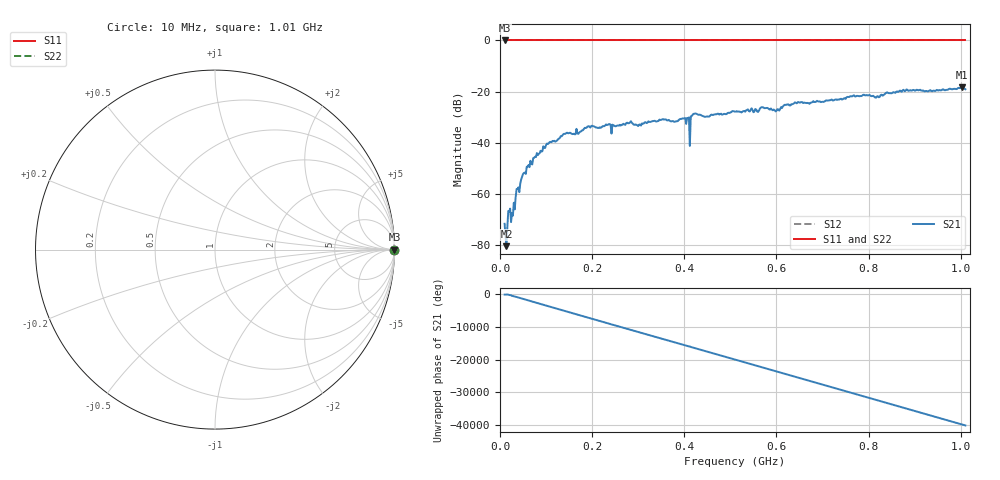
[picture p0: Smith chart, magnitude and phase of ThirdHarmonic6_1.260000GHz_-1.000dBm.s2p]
! 8/16/2025 1:32:52 PM
! C:\ANRITSUVNA\TEMP\TEMP.S2P
! CHANNEL.1
! TR.MEASUREMENT
! RAW.DATA
! RF.CORRECTION.OFF
! AVERAGING.OFF
! IF.BANDWIDTH: 5KHZ
! SWEEPTYPE:  FREQ.SWEEP(Linear)
! Reference Plane Port Info
! PORT:  PORT1  PORT2
! DISTANCE:  0  m  0  m
! TIME:  0  s  0  s
! PHASE.OFFSET:  0  deg.  0  deg.
! LOSS:  0  dB  0  dB
! REF.LOSS:  0  dB  0  dB
! REF.FREQ:  0  Hz  0  Hz
! Power Info
! POWER:  -20  dBm  -20  dBm
! EFF.POWER:  -20  dBm  -20  dBm
! SOURCE.ATTEN:  0  dB  0  dB
! TEST.ATTEN:  0  dB  0  dB
# GHZ S RI R 50.0
! FREQ.GHZ  S11RE  S11IM  S21RE  S21IM  S12RE  S12IM  S22RE  S22IM
!; PortSelection: Port_12
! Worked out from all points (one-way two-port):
!   501 points, 10 MHz to 1.01 GHz, reference 50 ohm
!   highest |S21| = -18.35 dB at 1.002 GHz (marker M1); lowest = -80.4 dB at 14 MHz (marker M2)
!   lowest |S11| = 0.0 dB at 10 MHz (marker M3)
!   |S11| at or under -10 dB: nowhere
!   |S22| runs from 0.0 to 0.0 dB; largest |S21 - S12| = 1.1
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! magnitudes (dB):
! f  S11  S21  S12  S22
! 10 MHz  0.0  -71.7  0.0  0.0
! 14 MHz  0.0  -80.4  0.0  0.0
! 22 MHz  0.0  -65.7  0.0  0.0
! 28 MHz  0.0  -68.5  0.0  0.0
! 34 MHz  0.0  -61.3  0.0  0.0
! 48 MHz  0.0  -53.2  0.0  0.0
! 76 MHz  0.0  -45.5  0.0  0.0
! 140 MHz  0.0  -36.5  0.0  0.0
! 178 MHz  0.0  -35.2  0.0  0.0
! 344 MHz  0.0  -31.5  0.0  0.0
! 398 MHz  0.0  -30.5  0.0  0.0
! 406 MHz  0.0  -30.3  0.0  0.0
! 408 MHz  0.0  -30.4  0.0  0.0
! 422 MHz  0.0  -28.7  0.0  0.0
! 450 MHz  0.0  -29.7  0.0  0.0
! 510 MHz  0.0  -27.8  0.0  0.0
! 602 MHz  0.0  -26.9  0.0  0.0
! 620 MHz  0.0  -25.2  0.0  0.0
! 678 MHz  0.0  -24.1  0.0  0.0
! 844 MHz  0.0  -20.6  0.0  0.0
! 1.002 GHz  0.0  -18.4  0.0  0.0
! 1.01 GHz  0.0  -19.1  0.0  0.0
